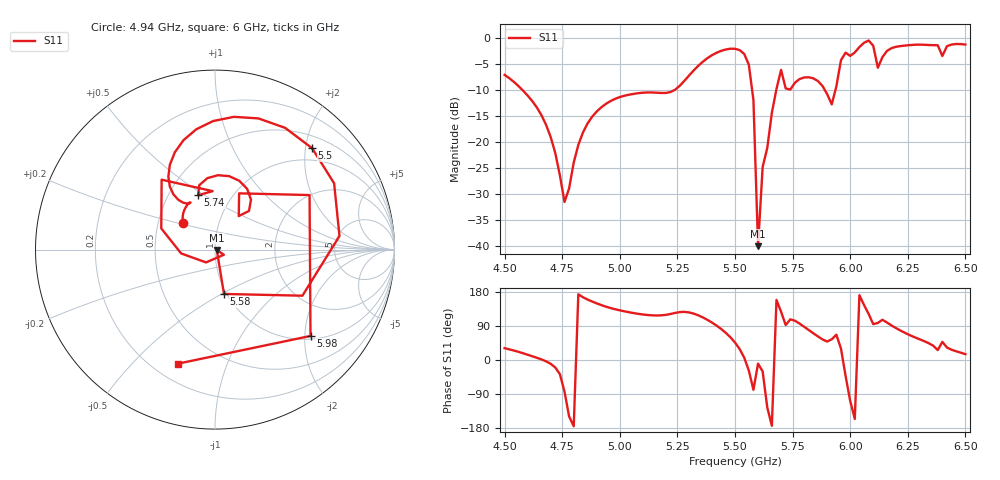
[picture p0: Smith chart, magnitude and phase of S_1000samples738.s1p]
! TOUCHSTONE file generated by CST MICROWAVE STUDIO
! Date and time: Sat Oct 29 05:27:58 2022
! Project name: L.cst
! Parameters = {Di=1.27; Epsilon_r=1.56; InnerDiameter=1.27; Length=2; Lf=10; Lg=60; OuterConductorThickness=0.2921; OuterDiameter=3.6; Wf=3; Wp=41.2; de=1.5; df=6.8; g=0.8; gx=1.80654; gy=1.12435; h=2.34; hf=1.524; px=13.4716; py=14.2137; w=9.7; wx=11.665; wy=13.0894}
! Header version: 2018
! Port assignment regex: !\s*Touchstone port\s*([0-9]+)\s*=\s*(CST MWS port|CST DS port)\s*([0-9]+|Zmin|Zmax)\s*\(\"(.*)\"\)(\s*mode\s*([0-9]+))?.*
! Touchstone port assignment:
! Touchstone port 1 = CST MWS port 1 ("")
# GHz S DB R 50
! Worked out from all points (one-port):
!   101 points, 4.5 GHz to 6.5 GHz, reference 50 ohm
!   lowest |S11| = -40.0 dB at 5.6 GHz (marker M1), VSWR 1.02, Z = 51 - j0.168 ohm
!   |S11| at or under -10 dB: 4.576 GHz to 5.24 GHz (663.5 MHz wide, 13.5 % of centre); 5.574 GHz to 5.679 GHz (105.1 MHz wide, 1.87 % of centre); 5.889 GHz to 5.936 GHz (47.07 MHz wide, 0.796 % of centre)
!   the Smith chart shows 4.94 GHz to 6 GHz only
!   S11 on the Smith chart (normalised r, x): 4.94 GHz: 0.67, +0.21; 5.5 GHz: 0.73, +2.13; 5.58 GHz: 0.97, -0.51; 5.74 GHz: 0.70, +0.47; 5.98 GHz: 1.08, -2.14; 6 GHz: 0.30, -0.68
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4.5  -7.15 31.2
4.68  -16.74 -3.5
4.76  -31.55 -83.4
4.84  -18.21 165.6
4.94  -12.70 140.7
5  -11.41 131.1
5.26  -9.25 126.4
5.38  -3.95 106.0
5.5  -2.13 46.2
5.54  -3.13 6.2
5.58  -11.97 -78.6
5.6  -40.03 -9.5
5.62  -24.83 -30.2
5.68  -9.85 158.5
5.7  -6.20 127.4
5.74  -9.98 107.2
5.76  -8.65 103.7
5.92  -12.81 54.7
5.94  -9.34 66.8
5.96  -4.32 30.0
5.98  -2.89 -42.1
6  -3.50 -108.0
6.04  -1.80 171.0
6.08  -0.54 121.7
6.1  -1.56 94.6
6.12  -5.78 97.9
6.26  -1.43 65.2
6.5  -1.33 15.3
